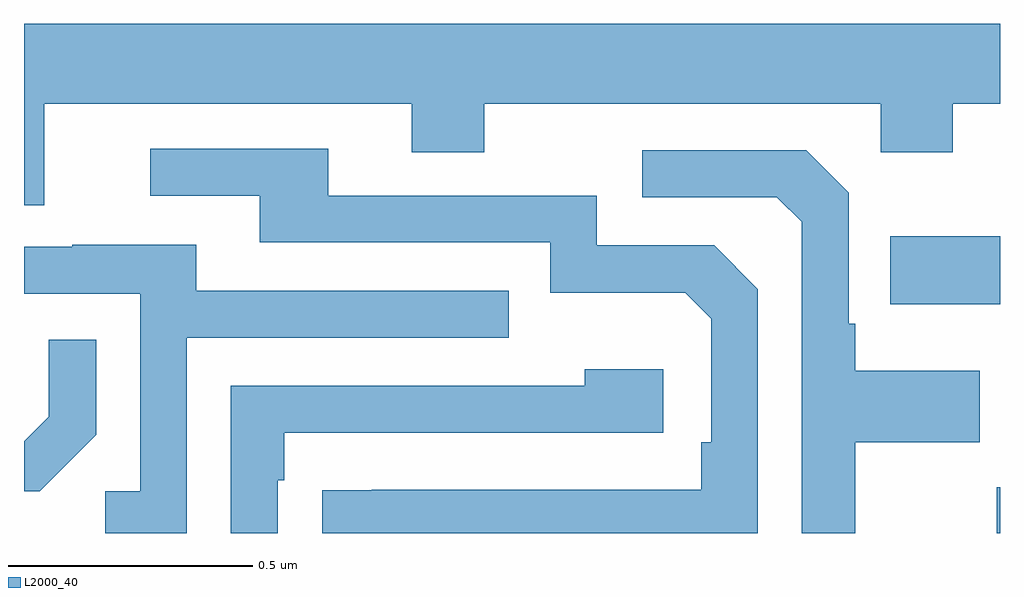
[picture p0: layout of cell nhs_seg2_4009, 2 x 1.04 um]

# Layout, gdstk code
import gdstk
lib = gdstk.Library(unit=1e-6, precision=1e-09)
def R(c, l, rs):  # rectangles x0, y0, x1, y1
    for r in rs: c.add(gdstk.rectangle(r[:2], r[2:], *l))
def P(c, l, *ps):  # polygons
    for p in ps: c.add(gdstk.Polygon(p, *l))
L2000_40 = (2000, 40)

nhs_seg2_4009 = lib.new_cell('nhs_seg2_4009')
R(nhs_seg2_4009, L2000_40, [(162.993,602.8,163,602.894), (162.775,603.269,163,603.409)])
P(nhs_seg2_4009, L2000_40, [(161.041,603.68),(161.795,603.68),(161.795,603.581),(161.943,603.581),(161.943,603.68),(162.756,603.68),(162.756,603.581),(162.903,603.581),(162.903,603.68),(163,603.68),(163,603.844),(161,603.844),(161,603.472),(161.041,603.472)],
  [(162.504,603.3),(162.414,603.39),(162.174,603.39),(162.174,603.492),(161.623,603.492),(161.623,603.588),(161.259,603.588),(161.259,603.492),(161.483,603.492),(161.483,603.396),(162.078,603.396),(162.078,603.293),(162.355,603.293),(162.408,603.24),(162.408,602.986),(162.388,602.986),(162.388,602.889),(161.713,602.889),(161.713,602.888),(161.611,602.888),(161.611,602.8),(162.504,602.8)],
  [(162.703,602.986),(162.959,602.986),(162.959,603.133),(162.703,603.133),(162.703,603.229),(162.69,603.229),(162.69,603.498),(162.603,603.585),(162.267,603.585),(162.267,603.489),(162.543,603.489),(162.594,603.438),(162.594,602.8),(162.703,602.8)],
  [(161.334,603.201),(161.993,603.201),(161.993,603.297),(161.353,603.297),(161.353,603.391),(161.099,603.391),(161.099,603.387),(161,603.387),(161,603.291),(161.238,603.291),(161.238,602.886),(161.166,602.886),(161.166,602.8),(161.334,602.8)],
  [(161.148,603.002),(161.148,603.196),(161.051,603.196),(161.051,603.039),(161,602.988),(161,602.886),(161.032,602.886)],
  [(161.52,602.909),(161.533,602.909),(161.533,603.006),(162.31,603.006),(162.31,603.136),(162.149,603.136),(162.149,603.102),(161.424,603.102),(161.424,602.8),(161.52,602.8)])

lib.write_gds('nhs_seg2_4009.gds')
